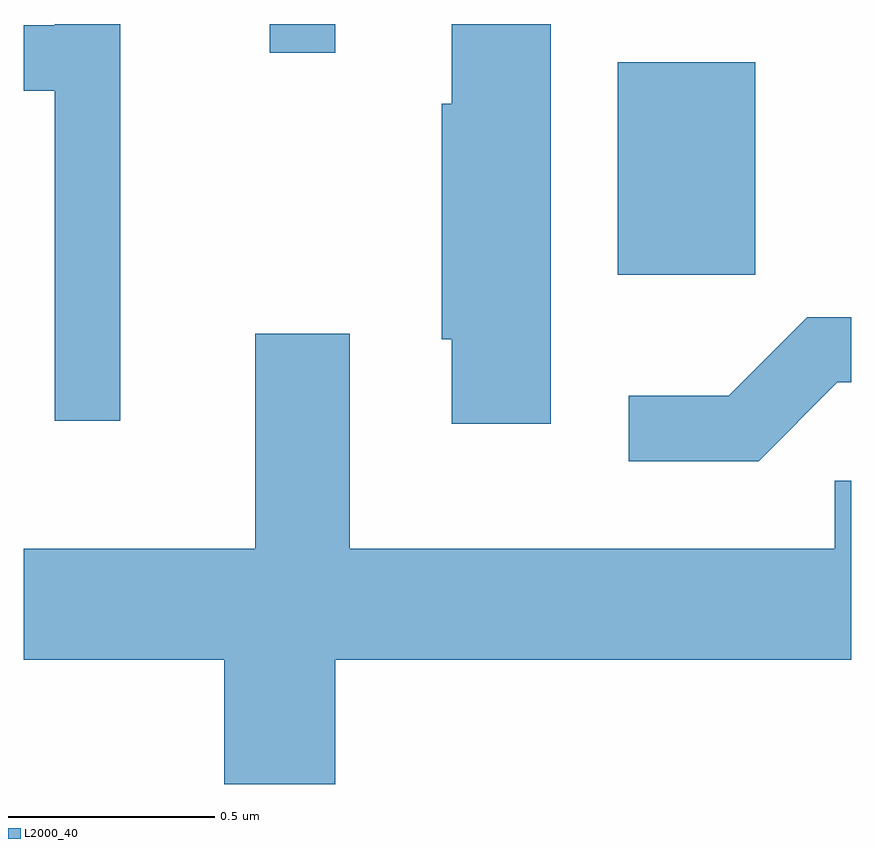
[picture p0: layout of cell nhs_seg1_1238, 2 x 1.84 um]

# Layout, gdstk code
import gdstk
lib = gdstk.Library(unit=1e-6, precision=1e-09)
def R(c, l, rs):  # rectangles x0, y0, x1, y1
    for r in rs: c.add(gdstk.rectangle(r[:2], r[2:], *l))
def P(c, l, *ps):  # polygons
    for p in ps: c.add(gdstk.Polygon(p, *l))
L2000_40 = (2000, 40)

nhs_seg1_1238 = lib.new_cell('nhs_seg1_1238')
R(nhs_seg1_1238, L2000_40, [(196.046,856.106,196.379,856.619), (195.206,856.643,195.364,856.712)])
P(nhs_seg1_1238, L2000_40, [(195.884,856.712),(195.646,856.712),(195.646,856.519),(195.621,856.519),(195.621,855.951),(195.646,855.951),(195.646,855.746),(195.884,855.746)],
  [(194.844,856.712),(194.686,856.712),(194.686,856.709),(194.611,856.709),(194.611,856.551),(194.686,856.551),(194.686,855.753),(194.844,855.753)],
  [(196.577,855.846),(196.611,855.846),(196.611,856.004),(196.504,856.004),(196.314,855.814),(196.073,855.814),(196.073,855.656),(196.387,855.656)],
  [(195.364,855.176),(196.611,855.176),(196.611,855.609),(196.571,855.609),(196.571,855.444),(195.399,855.444),(195.399,855.964),(195.171,855.964),(195.171,855.444),(194.611,855.444),(194.611,855.176),(195.096,855.176),(195.096,854.876),(195.364,854.876)])

lib.write_gds('nhs_seg1_1238.gds')
